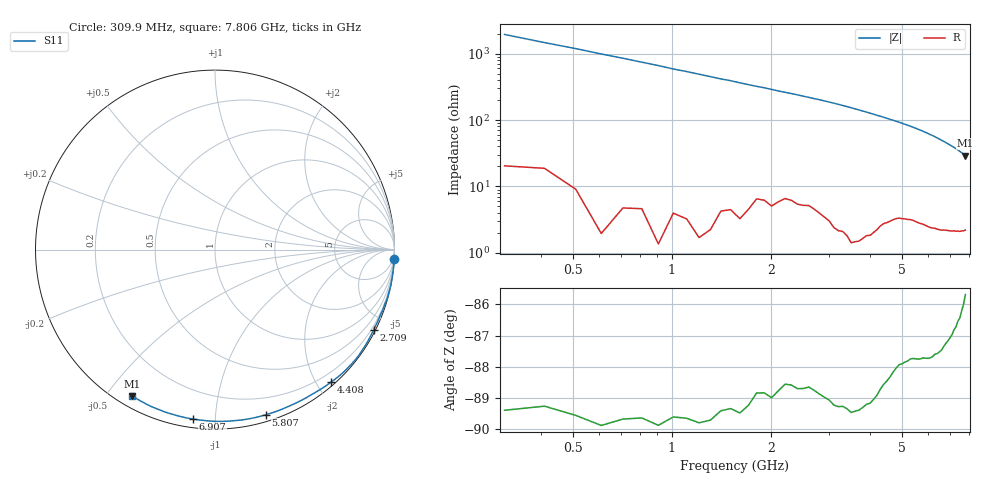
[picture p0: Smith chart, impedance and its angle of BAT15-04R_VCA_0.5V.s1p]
! Infineon Technologies  Discrete & RF Semiconductors
! BAT15-04R
! VCA = 0.5 V
! One-Port S-Parameters
# Hz  S  MA  R  50
!f  S11
!Hz  Mag  Ang
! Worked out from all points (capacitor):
!   76 points, 309.9 MHz to 7.806 GHz, reference 50 ohm
!   read as one part to ground: C = 264 fF near 309.9 MHz
!   lowest |Z| = 29.2 ohm at 7.806 GHz (marker M1)
!   S11 on the Smith chart (normalised r, x): 309.9 MHz: 0, -39; 2.709 GHz: 0.09, -4.20; 4.408 GHz: 0.06, -2.20; 5.807 GHz: 0.05, -1.35; 6.907 GHz: 0.04, -0.88; 7.806 GHz: 0.04, -0.58
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3.0985e8  0.9995 -2.9
9.0955e8  0.9997 -8.6
1.30935e9  0.9989 -12.7
1.6092e9  0.9976 -15.6
2.009e9  0.9941 -19.6
2.2089e9  0.9908 -21.6
2.70865e9  0.9903 -26.7
3.2084e9  0.9933 -32.3
3.50825e9  0.9946 -36.1
3.6082e9  0.9939 -37.5
3.8081e9  0.9922 -40.2
4.10795e9  0.9884 -44.5
4.4078e9  0.9812 -48.9
4.70765e9  0.9747 -53.5
5.0075e9  0.9694 -58.3
5.30735e9  0.9655 -63.4
5.6072e9  0.9641 -69.0
5.8071e9  0.9626 -72.9
6.007e9  0.9621 -77.0
6.2069e9  0.9606 -81.3
6.50675e9  0.9577 -88.0
6.70665e9  0.9548 -92.7
6.90655e9  0.9522 -97.4
7.10645e9  0.9496 -102.1
7.30635e9  0.9467 -107.0
7.50625e9  0.9438 -111.9
7.70615e9  0.9394 -116.9
7.8061e9  0.9364 -119.5
